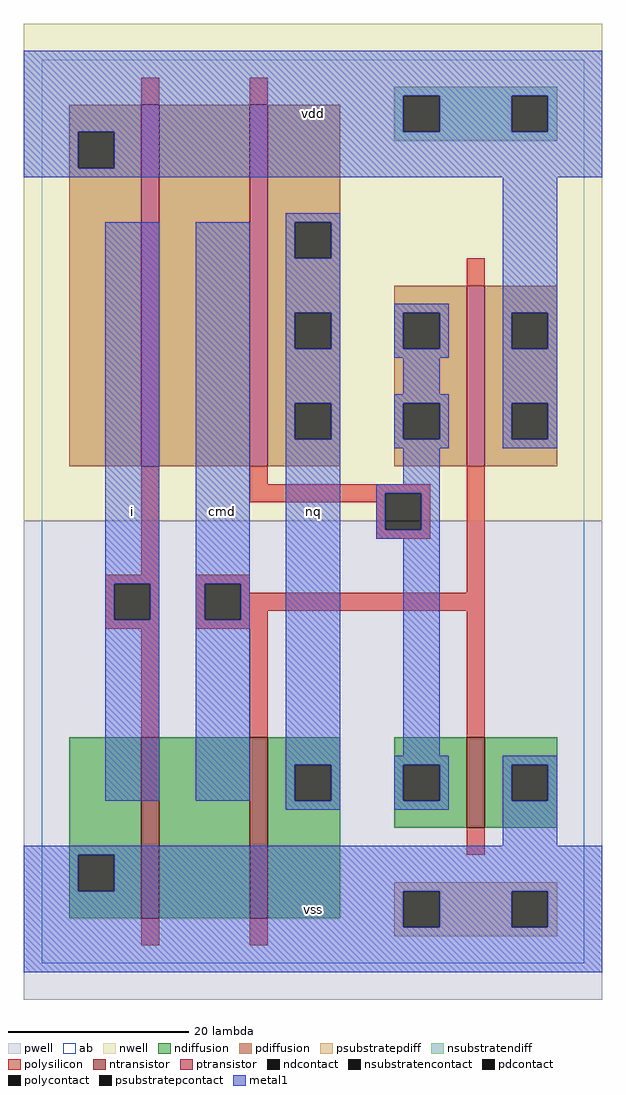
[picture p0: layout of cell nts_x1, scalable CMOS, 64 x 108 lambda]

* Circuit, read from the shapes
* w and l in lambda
.subckt nts_x1 cmd i nq vdd vss
M1 n1 i vss vss nfet w=20 l=2
M2 nq cmd n1 vss nfet w=20 l=2
M3 vss cmd n2 vss nfet w=10 l=2
M4 n3 i vdd vdd pfet w=40 l=2
M5 nq n2 n3 vdd pfet w=40 l=2
M6 vdd cmd n2 vdd pfet w=20 l=2
.ends

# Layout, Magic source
magic
tech scmos
<< ab >>
rect 0 0 60 100
<< pwell >>
rect -2 -4 62 49
<< nwell >>
rect -2 49 62 104
<< polysilicon >>
rect 11 95 13 98
rect 23 95 25 98
rect 47 75 49 78
rect 11 43 13 55
rect 23 53 25 55
rect 23 52 43 53
rect 23 51 38 52
rect 37 48 38 51
rect 42 48 43 52
rect 37 47 43 48
rect 7 42 13 43
rect 7 38 8 42
rect 12 38 13 42
rect 7 37 13 38
rect 17 42 23 43
rect 17 38 18 42
rect 22 41 23 42
rect 47 41 49 55
rect 22 39 49 41
rect 22 38 25 39
rect 17 37 25 38
rect 11 25 13 37
rect 23 25 25 37
rect 47 25 49 39
rect 47 12 49 15
rect 11 2 13 5
rect 23 2 25 5
<< ndiffusion >>
rect 3 12 11 25
rect 3 8 4 12
rect 8 8 11 12
rect 3 5 11 8
rect 13 5 23 25
rect 25 22 33 25
rect 25 18 28 22
rect 32 18 33 22
rect 25 5 33 18
rect 39 22 47 25
rect 39 18 40 22
rect 44 18 47 22
rect 39 15 47 18
rect 49 22 57 25
rect 49 18 52 22
rect 56 18 57 22
rect 49 15 57 18
<< pdiffusion >>
rect 3 92 11 95
rect 3 88 4 92
rect 8 88 11 92
rect 3 55 11 88
rect 13 55 23 95
rect 25 82 33 95
rect 25 78 28 82
rect 32 78 33 82
rect 25 72 33 78
rect 25 68 28 72
rect 32 68 33 72
rect 25 62 33 68
rect 25 58 28 62
rect 32 58 33 62
rect 25 55 33 58
rect 39 72 47 75
rect 39 68 40 72
rect 44 68 47 72
rect 39 62 47 68
rect 39 58 40 62
rect 44 58 47 62
rect 39 55 47 58
rect 49 72 57 75
rect 49 68 52 72
rect 56 68 57 72
rect 49 62 57 68
rect 49 58 52 62
rect 56 58 57 62
rect 49 55 57 58
<< metal1 >>
rect -2 96 62 101
rect -2 92 40 96
rect 44 92 52 96
rect 56 92 62 96
rect -2 88 4 92
rect 8 88 62 92
rect -2 87 62 88
rect 27 82 33 83
rect 7 42 13 82
rect 7 38 8 42
rect 12 38 13 42
rect 7 18 13 38
rect 17 42 23 82
rect 17 38 18 42
rect 22 38 23 42
rect 17 18 23 38
rect 27 78 28 82
rect 32 78 33 82
rect 27 72 33 78
rect 27 68 28 72
rect 32 68 33 72
rect 27 62 33 68
rect 39 72 45 73
rect 39 68 40 72
rect 44 68 45 72
rect 39 67 45 68
rect 51 72 57 87
rect 51 68 52 72
rect 56 68 57 72
rect 40 63 44 67
rect 27 58 28 62
rect 32 58 33 62
rect 27 22 33 58
rect 39 62 45 63
rect 39 58 40 62
rect 44 58 45 62
rect 39 57 45 58
rect 51 62 57 68
rect 51 58 52 62
rect 56 58 57 62
rect 51 57 57 58
rect 40 53 44 57
rect 37 52 44 53
rect 37 48 38 52
rect 42 48 44 52
rect 37 47 44 48
rect 40 23 44 47
rect 27 18 28 22
rect 32 18 33 22
rect 27 17 33 18
rect 39 22 45 23
rect 39 18 40 22
rect 44 18 45 22
rect 39 17 45 18
rect 51 22 57 23
rect 51 18 52 22
rect 56 18 57 22
rect 51 13 57 18
rect -2 12 62 13
rect -2 8 4 12
rect 8 8 62 12
rect -2 4 40 8
rect 44 4 52 8
rect 56 4 62 8
rect -2 -1 62 4
<< ntransistor >>
rect 11 5 13 25
rect 23 5 25 25
rect 47 15 49 25
<< ptransistor >>
rect 11 55 13 95
rect 23 55 25 95
rect 47 55 49 75
<< polycontact >>
rect 38 48 42 52
rect 8 38 12 42
rect 18 38 22 42
<< ndcontact >>
rect 4 8 8 12
rect 28 18 32 22
rect 40 18 44 22
rect 52 18 56 22
<< pdcontact >>
rect 4 88 8 92
rect 28 78 32 82
rect 28 68 32 72
rect 28 58 32 62
rect 40 68 44 72
rect 40 58 44 62
rect 52 68 56 72
rect 52 58 56 62
<< psubstratepcontact >>
rect 40 4 44 8
rect 52 4 56 8
<< nsubstratencontact >>
rect 40 92 44 96
rect 52 92 56 96
<< psubstratepdiff >>
rect 39 8 57 9
rect 39 4 40 8
rect 44 4 52 8
rect 56 4 57 8
rect 39 3 57 4
<< nsubstratendiff >>
rect 39 96 57 97
rect 39 92 40 96
rect 44 92 52 96
rect 56 92 57 96
rect 39 91 57 92
<< labels >>
rlabel metal1 10 50 10 50 6 i
rlabel metal1 10 50 10 50 6 i
rlabel metal1 20 50 20 50 6 cmd
rlabel metal1 20 50 20 50 6 cmd
rlabel metal1 30 6 30 6 6 vss
rlabel metal1 30 6 30 6 6 vss
rlabel metal1 30 50 30 50 6 nq
rlabel metal1 30 50 30 50 6 nq
rlabel metal1 30 94 30 94 6 vdd
rlabel metal1 30 94 30 94 6 vdd
<< end >>
